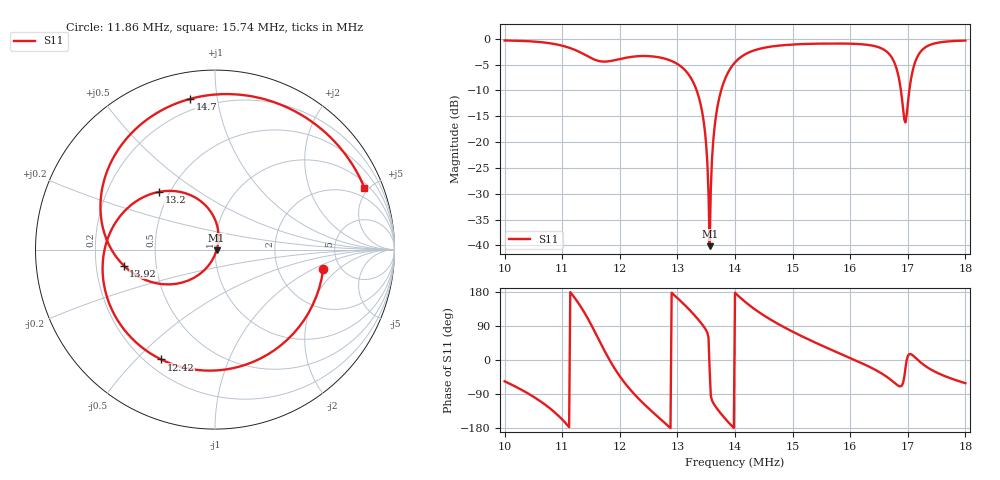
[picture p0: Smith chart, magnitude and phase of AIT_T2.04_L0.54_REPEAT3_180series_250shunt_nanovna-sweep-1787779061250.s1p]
! NanoVNA Web complex sweep
! Processing: original sample grid, no browser smoothing
# Hz S RI R 50
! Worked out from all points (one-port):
!   401 points, 10 MHz to 18 MHz, reference 50 ohm
!   lowest |S11| = -40.1 dB at 13.56 MHz (marker M1), VSWR 1.02, Z = 50.9 - j0.447 ohm
!   |S11| at or under -10 dB: 13.33 MHz to 13.76 MHz (425.1 kHz wide, 3.14 % of centre); 16.88 MHz to 17.03 MHz (146.2 kHz wide, 0.862 % of centre)
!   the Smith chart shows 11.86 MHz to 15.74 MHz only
!   S11 on the Smith chart (normalised r, x): 11.86 MHz: 3.70, -1.26; 12.42 MHz: 0.26, -0.59; 13.2 MHz: 0.44, +0.35; 13.92 MHz: 0.32, -0.08; 14.7 MHz: 0.14, +0.84; 15.74 MHz: 1.29, +4.70
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1e7  0.5358 -0.8009
1.056e7  -0.2054 -0.9126
1.1e7  -0.7891 -0.3351
1.124e7  -0.722 0.275
1.146e7  -0.1765 0.6457
1.168e7  0.4599 0.3912
1.186e7  0.6031 -0.1061
1.2e7  0.4663 -0.4334
1.242e7  -0.3005 -0.6117
1.272e7  -0.6072 -0.246
1.3e7  -0.5472 0.1611
1.32e7  -0.31 0.322
1.342e7  -0.0217 0.2082
1.356e7  0.0088 -0.0044
1.37e7  -0.1479 -0.1719
1.392e7  -0.5085 -0.0889
1.4e7  -0.5904 0.0255
1.428e7  -0.5852 0.4747
1.47e7  -0.1379 0.84
1.5e7  0.2311 0.8486
1.574e7  0.8326 0.3439
1.6e7  0.8931 0.082
1.668e7  0.462 -0.5377
1.688e7  0.1124 -0.2978
1.7e7  0.231 0.0423
1.712e7  0.5724 0.0789
1.732e7  0.7991 -0.2509
1.8e7  0.4622 -0.8433
